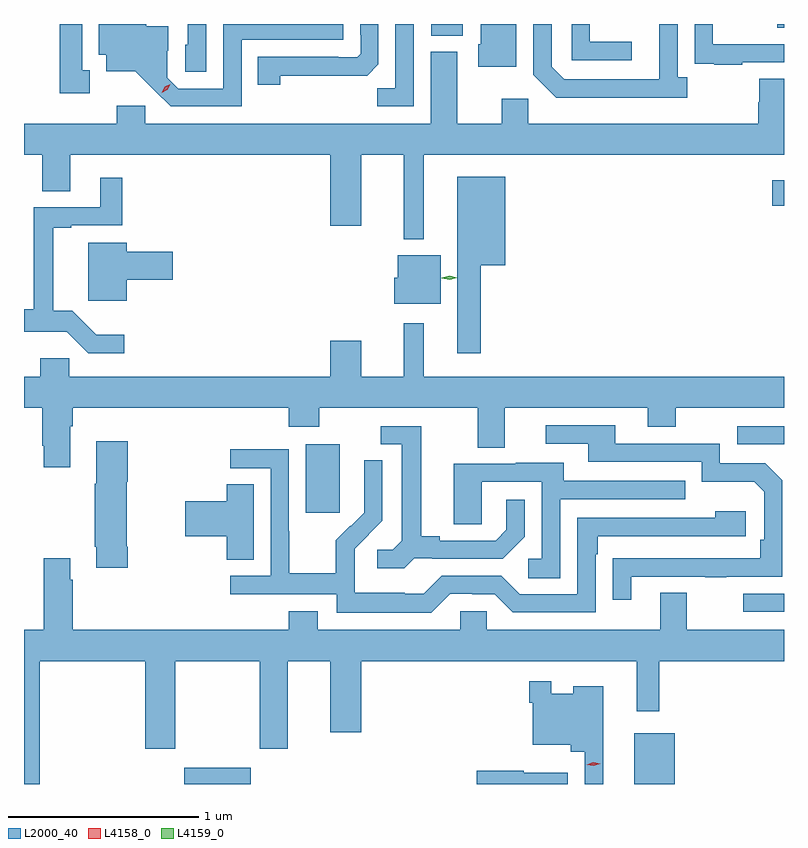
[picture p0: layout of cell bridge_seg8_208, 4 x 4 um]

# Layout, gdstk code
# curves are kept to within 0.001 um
import gdstk
lib = gdstk.Library(unit=1e-6, precision=1e-09)
def R(c, l, rs):  # rectangles x0, y0, x1, y1
    for r in rs: c.add(gdstk.rectangle(r[:2], r[2:], *l))
def P(c, l, *ps):  # polygons
    for p in ps: c.add(gdstk.Polygon(p, *l))
L2000_40 = (2000, 40)
L4158_0 = (4158, 0)
L4159_0 = (4159, 0)

bridge_seg8_208 = lib.new_cell('bridge_seg8_208')
R(bridge_seg8_208, L2000_40, [(200.204,1094.541,200.554,1094.626), (202.571,1094.541,202.786,1094.809), (203.145,1095.447,203.36,1095.543), (200.843,1095.969,201.022,1096.33), (203.115,1096.329,203.36,1096.425), (203.298,1097.585,203.36,1097.719), (201.503,1098.479,201.67,1098.541), (203.324,1098.52,203.36,1098.541)])
P(bridge_seg8_208, L2000_40, [(202.852,1098.262),(202.8,1098.262),(202.8,1098.541),(202.704,1098.541),(202.703,1098.249),(202.203,1098.249),(202.137,1098.315),(202.137,1098.541),(202.041,1098.541),(202.041,1098.273),(202.162,1098.152),(202.852,1098.152)],
  [(200.709,1098.268),(201.166,1098.269),(201.225,1098.328),(201.225,1098.541),(201.129,1098.541),(201.129,1098.484),(201.132,1098.484),(201.132,1098.384),(201.114,1098.366),(201.014,1098.366),(201.014,1098.369),(200.59,1098.369),(200.59,1098.222),(200.709,1098.222)],
  [(200.505,1098.459),(201.039,1098.459),(201.039,1098.541),(200.409,1098.541),(200.409,1098.201),(200.172,1098.201),(200.115,1098.258),(200.115,1098.4),(200.119,1098.4),(200.119,1098.529),(200.004,1098.529),(200.004,1098.541),(199.754,1098.541),(199.754,1098.38),(199.793,1098.38),(199.793,1098.293),(199.945,1098.293),(200.132,1098.108),(200.505,1098.108)],
  [(203.141,1098.339),(203.36,1098.339),(203.36,1098.435),(202.986,1098.435),(202.986,1098.541),(202.89,1098.541),(202.89,1098.442),(202.891,1098.442),(202.891,1098.333),(202.993,1098.333),(202.993,1098.327),(203.141,1098.327)],
  [(202.558,1098.447),(202.338,1098.447),(202.338,1098.541),(202.242,1098.541),(202.242,1098.351),(202.558,1098.351)],
  [(200.319,1098.541),(200.223,1098.541),(200.223,1098.432),(200.208,1098.432),(200.208,1098.289),(200.319,1098.289)],
  [(201.411,1098.541),(201.315,1098.541),(201.315,1098.203),(201.22,1098.203),(201.22,1098.108),(201.411,1098.108)],
  [(201.952,1098.541),(201.765,1098.541),(201.765,1098.435),(201.752,1098.435),(201.752,1098.317),(201.952,1098.317)],
  [(199.705,1098.297),(199.666,1098.297),(199.666,1098.541),(199.548,1098.541),(199.548,1098.177),(199.705,1098.177)],
  [(201.463,1097.852),(203.36,1097.852),(203.36,1098.254),(203.23,1098.254),(203.23,1098.129),(203.225,1098.129),(203.225,1098.016),(202.014,1098.016),(202.014,1098.148),(201.875,1098.148),(201.875,1098.016),(201.64,1098.016),(201.64,1098.394),(201.5,1098.394),(201.5,1098.016),(199.998,1098.016),(199.998,1098.112),(199.847,1098.112),(199.847,1098.016),(199.36,1098.016),(199.36,1097.852),(199.456,1097.852),(199.456,1097.662),(199.603,1097.662),(199.603,1097.852),(200.972,1097.852),(200.972,1097.478),(201.136,1097.478),(201.136,1097.852),(201.359,1097.852),(201.359,1097.408),(201.463,1097.408)],
  [(201.763,1097.27),(201.892,1097.27),(201.892,1097.737),(201.641,1097.737),(201.641,1096.809),(201.763,1096.809)],
  [(199.888,1096.906),(199.739,1096.906),(199.613,1097.032),(199.514,1097.032),(199.514,1097.469),(199.609,1097.469),(199.609,1097.481),(199.877,1097.481),(199.877,1097.731),(199.76,1097.731),(199.76,1097.577),(199.411,1097.577),(199.411,1097.039),(199.36,1097.039),(199.36,1096.922),(199.585,1096.922),(199.698,1096.809),(199.888,1096.809)],
  [(199.9,1097.195),(200.143,1097.195),(200.143,1097.342),(199.9,1097.342),(199.9,1097.389),(199.697,1097.389),(199.697,1097.084),(199.9,1097.084)],
  [(201.553,1097.323),(201.326,1097.323),(201.326,1097.205),(201.308,1097.205),(201.308,1097.069),(201.553,1097.069)],
  [(199.603,1096.424),(199.616,1096.424),(199.616,1096.52),(200.753,1096.52),(200.753,1096.421),(200.913,1096.421),(200.913,1096.52),(201.749,1096.52),(201.749,1096.312),(201.889,1096.312),(201.889,1096.52),(202.643,1096.52),(202.643,1096.421),(202.791,1096.421),(202.791,1096.52),(203.36,1096.52),(203.36,1096.684),(201.463,1096.684),(201.463,1096.966),(201.359,1096.966),(201.359,1096.684),(201.136,1096.684),(201.136,1096.873),(200.972,1096.873),(200.972,1096.684),(199.597,1096.684),(199.597,1096.782),(199.445,1096.782),(199.445,1096.684),(199.36,1096.684),(199.36,1096.52),(199.456,1096.52),(199.456,1096.321),(199.463,1096.321),(199.463,1096.209),(199.603,1096.209)],
  [(202.555,1095.633),(202.945,1095.633),(202.945,1095.628),(203.057,1095.628),(203.057,1095.633),(203.352,1095.633),(203.352,1096.14),(203.262,1096.23),(203.022,1096.23),(203.022,1096.332),(202.471,1096.332),(202.471,1096.428),(202.107,1096.428),(202.107,1096.332),(202.331,1096.332),(202.331,1096.236),(202.926,1096.236),(202.926,1096.133),(203.203,1096.133),(203.256,1096.08),(203.256,1095.826),(203.236,1095.826),(203.236,1095.729),(202.459,1095.728),(202.459,1095.51),(202.555,1095.51)],
  [(201.414,1095.729),(201.508,1095.729),(201.508,1095.726),(201.88,1095.726),(201.996,1095.842),(201.996,1096.036),(201.899,1096.036),(201.899,1095.879),(201.842,1095.822),(201.547,1095.822),(201.547,1095.845),(201.451,1095.845),(201.451,1096.425),(201.237,1096.425),(201.237,1096.329),(201.347,1096.329),(201.347,1095.821),(201.3,1095.774),(201.219,1095.774),(201.219,1095.677),(201.362,1095.677)],
  [(199.907,1095.79),(199.902,1095.79),(199.902,1096.132),(199.907,1096.132),(199.907,1096.345),(199.739,1096.345),(199.739,1096.121),(199.732,1096.121),(199.732,1095.79),(199.739,1095.79),(199.739,1095.678),(199.907,1095.678)],
  [(201.603,1095.543),(201.719,1095.543),(201.719,1095.54),(201.837,1095.54),(201.933,1095.444),(202.368,1095.444),(202.368,1095.749),(202.381,1095.749),(202.381,1095.846),(203.158,1095.846),(203.158,1095.976),(202.997,1095.976),(202.997,1095.942),(202.272,1095.942),(202.272,1095.54),(201.969,1095.54),(201.873,1095.636),(201.558,1095.636),(201.465,1095.543),(201.365,1095.543),(201.365,1095.547),(201.102,1095.547),(201.102,1095.681),(201.1,1095.681),(201.1,1095.778),(201.246,1095.926),(201.246,1096.244),(201.15,1096.244),(201.15,1096.09),(201.152,1096.09),(201.152,1095.968),(201.081,1095.897),(201.078,1095.9),(201.001,1095.823),(201.001,1095.649),(200.757,1095.649),(200.757,1095.872),(200.754,1095.872),(200.754,1096.302),(200.445,1096.302),(200.445,1096.203),(200.658,1096.203),(200.658,1095.636),(200.445,1095.636),(200.445,1095.54),(201.006,1095.54),(201.006,1095.443),(201.503,1095.443)],
  [(202.182,1096.041),(202.841,1096.041),(202.841,1096.137),(202.201,1096.137),(202.201,1096.231),(201.947,1096.231),(201.947,1096.227),(201.623,1096.227),(201.623,1095.907),(201.768,1095.907),(201.768,1096.131),(202.086,1096.131),(202.086,1095.726),(202.014,1095.726),(202.014,1095.625),(202.182,1095.625)],
  [(200.569,1096.118),(200.426,1096.118),(200.426,1096.028),(200.208,1096.028),(200.208,1095.845),(200.426,1095.845),(200.426,1095.721),(200.569,1095.721)],
  [(200.905,1095.451),(200.753,1095.451),(200.753,1095.352),(199.616,1095.352),(199.616,1095.617),(199.603,1095.617),(199.603,1095.73),(199.463,1095.73),(199.463,1095.352),(199.36,1095.352),(199.36,1094.541),(199.442,1094.541),(199.442,1095.188),(199.997,1095.188),(199.997,1094.727),(200.157,1094.727),(200.157,1095.188),(200.602,1095.188),(200.602,1094.727),(200.749,1094.727),(200.749,1095.188),(200.972,1095.188),(200.972,1094.814),(201.136,1094.814),(201.136,1095.188),(202.586,1095.188),(202.586,1094.925),(202.703,1094.925),(202.703,1095.188),(203.36,1095.188),(203.36,1095.352),(202.849,1095.352),(202.849,1095.547),(202.709,1095.547),(202.709,1095.352),(201.795,1095.352),(201.795,1095.45),(201.657,1095.45),(201.657,1095.352),(200.905,1095.352)],
  [(202.408,1095.055),(202.25,1095.055),(202.25,1095.016),(202.134,1095.016),(202.134,1095.082),(202.018,1095.082),(202.018,1094.969),(202.038,1094.969),(202.038,1094.747),(202.238,1094.747),(202.238,1094.711),(202.311,1094.711),(202.311,1094.541),(202.408,1094.541)],
  [(202.222,1094.599),(201.99,1094.599),(201.99,1094.612),(201.744,1094.612),(201.744,1094.541),(202.222,1094.541)])
P(bridge_seg8_208, L4158_0, [(202.358,1094.636),(202.322,1094.643),(202.321,1094.643),(202.322,1094.643),(202.356,1094.656),(202.392,1094.648),(202.393,1094.648),(202.392,1094.648)],
  [(200.084,1098.18),(200.084,1098.18),(200.101,1098.21),(200.131,1098.225),(200.131,1098.225),(200.131,1098.225),(200.114,1098.195),(200.084,1098.18)])
P(bridge_seg8_208, L4159_0, [(201.6,1097.195),(201.559,1097.204),(201.559,1097.204),(201.559,1097.205),(201.6,1097.215),(201.641,1097.206),(201.641,1097.206),(201.641,1097.206)])

lib.write_gds('bridge_seg8_208.gds')
